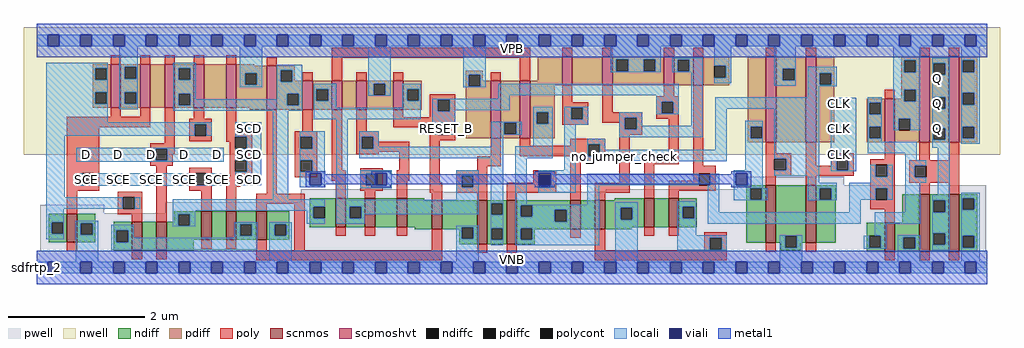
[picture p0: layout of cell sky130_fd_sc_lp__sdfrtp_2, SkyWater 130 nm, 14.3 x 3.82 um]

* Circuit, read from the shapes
.subckt sky130_fd_sc_lp__sdfrtp_2 CLK D RESET_B SCD SCE VGND VNB VPB VPWR Q
XM1 VGND SCE n1 VNB sky130_fd_pr__nfet_01v8 w=0.42 l=0.15
XM2 n2 n1 n3 VNB sky130_fd_pr__nfet_01v8 w=0.42 l=0.15
XM3 n4 D n2 VNB sky130_fd_pr__nfet_01v8 w=0.42 l=0.15
XM4 n5 SCE n4 VNB sky130_fd_pr__nfet_01v8 w=0.42 l=0.15
XM5 n3 SCD n5 VNB sky130_fd_pr__nfet_01v8 w=0.42 l=0.15
XM6 VGND RESET_B n3 VNB sky130_fd_pr__nfet_01v8 w=0.42 l=0.15
XM7 n6 n7 n4 VNB sky130_fd_pr__nfet_01v8 w=0.42 l=0.15
XM8 n8 n9 n6 VNB sky130_fd_pr__nfet_01v8 w=0.42 l=0.15
XM9 n10 n11 n8 VNB sky130_fd_pr__nfet_01v8 w=0.42 l=0.15
XM10 VGND RESET_B n10 VNB sky130_fd_pr__nfet_01v8 w=0.42 l=0.15
XM11 n11 n6 VGND VNB sky130_fd_pr__nfet_01v8 w=0.64 l=0.15
XM12 n12 n9 n11 VNB sky130_fd_pr__nfet_01v8 w=0.64 l=0.15
XM13 n13 n7 n12 VNB sky130_fd_pr__nfet_01v8 w=0.42 l=0.15
XM14 VGND n14 n13 VNB sky130_fd_pr__nfet_01v8 w=0.42 l=0.15
XM15 n15 RESET_B VGND VNB sky130_fd_pr__nfet_01v8 w=0.42 l=0.15
XM16 n14 n12 n15 VNB sky130_fd_pr__nfet_01v8 w=0.42 l=0.15
XM17 VGND n7 n9 VNB sky130_fd_pr__nfet_01v8 w=0.84 l=0.15
XM18 n7 CLK VGND VNB sky130_fd_pr__nfet_01v8 w=0.84 l=0.15
XM19 VGND n12 n16 VNB sky130_fd_pr__nfet_01v8 w=0.42 l=0.15
XM20 Q n16 VGND VNB sky130_fd_pr__nfet_01v8 w=0.84 l=0.15 m=2
XM21 VPWR SCE n1 VPB sky130_fd_pr__pfet_01v8_hvt w=0.64 l=0.15
XM22 n17 SCE VPWR VPB sky130_fd_pr__pfet_01v8_hvt w=0.64 l=0.15
XM23 n4 D n17 VPB sky130_fd_pr__pfet_01v8_hvt w=0.64 l=0.15
XM24 n18 n1 n4 VPB sky130_fd_pr__pfet_01v8_hvt w=0.64 l=0.15
XM25 VPWR SCD n18 VPB sky130_fd_pr__pfet_01v8_hvt w=0.64 l=0.15
XM26 n4 RESET_B VPWR VPB sky130_fd_pr__pfet_01v8_hvt w=0.64 l=0.15
XM27 n6 n9 n4 VPB sky130_fd_pr__pfet_01v8_hvt w=0.42 l=0.15
XM28 n19 n7 n6 VPB sky130_fd_pr__pfet_01v8_hvt w=0.42 l=0.15
XM29 VPWR n11 n19 VPB sky130_fd_pr__pfet_01v8_hvt w=0.42 l=0.15
XM30 n6 RESET_B VPWR VPB sky130_fd_pr__pfet_01v8_hvt w=0.42 l=0.15
XM31 n11 n6 VPWR VPB sky130_fd_pr__pfet_01v8_hvt w=0.84 l=0.15
XM32 n12 n7 n11 VPB sky130_fd_pr__pfet_01v8_hvt w=0.84 l=0.15
XM33 n20 n9 n12 VPB sky130_fd_pr__pfet_01v8_hvt w=0.42 l=0.15
XM34 VPWR n14 n20 VPB sky130_fd_pr__pfet_01v8_hvt w=0.42 l=0.15
XM35 n14 RESET_B VPWR VPB sky130_fd_pr__pfet_01v8_hvt w=0.42 l=0.15
XM36 VPWR n12 n14 VPB sky130_fd_pr__pfet_01v8_hvt w=0.42 l=0.15
XM37 VPWR n7 n9 VPB sky130_fd_pr__pfet_01v8_hvt w=1.26 l=0.15
XM38 n7 CLK VPWR VPB sky130_fd_pr__pfet_01v8_hvt w=1.26 l=0.15
XM39 VPWR n12 n16 VPB sky130_fd_pr__pfet_01v8_hvt w=0.64 l=0.15
XM40 Q n16 VPWR VPB sky130_fd_pr__pfet_01v8_hvt w=1.26 l=0.15 m=2
.ends

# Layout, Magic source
magic
tech sky130A
magscale 1 2
<< nwell >>
rect -38 331 2822 704
<< pwell >>
rect 2052 241 2366 267
rect 2052 229 2781 241
rect 773 223 1161 229
rect 1667 223 2781 229
rect 773 191 2781 223
rect 9 160 197 184
rect 376 160 2781 191
rect 9 49 2781 160
rect 0 0 2784 49
<< scnmos >>
rect 88 74 118 158
rect 278 50 308 134
rect 350 50 380 134
rect 482 81 512 165
rect 554 81 584 165
rect 643 81 673 165
rect 875 119 905 203
rect 961 119 991 203
rect 1055 119 1085 203
rect 1157 113 1187 197
rect 1290 69 1320 197
rect 1376 69 1406 197
rect 1563 113 1593 197
rect 1635 113 1665 197
rect 1779 119 1809 203
rect 1851 119 1881 203
rect 2135 73 2165 241
rect 2253 73 2283 241
rect 2484 47 2514 131
rect 2586 47 2616 215
rect 2672 47 2702 215
<< scpmoshvt >>
rect 216 468 246 596
rect 302 468 332 596
rect 374 468 404 596
rect 460 468 490 596
rect 554 468 584 596
rect 673 463 703 591
rect 778 463 808 547
rect 864 463 894 547
rect 936 463 966 547
rect 1044 463 1074 547
rect 1329 379 1359 547
rect 1415 379 1445 547
rect 1539 534 1569 618
rect 1657 534 1687 618
rect 1837 534 1867 618
rect 1923 534 1953 618
rect 2136 367 2166 619
rect 2253 367 2283 619
rect 2484 367 2514 495
rect 2586 367 2616 619
rect 2672 367 2702 619
<< ndiff >>
rect 35 133 88 158
rect 35 99 43 133
rect 77 99 88 133
rect 35 74 88 99
rect 118 130 171 158
rect 402 157 482 165
rect 402 134 414 157
rect 118 96 129 130
rect 163 96 171 130
rect 118 74 171 96
rect 225 109 278 134
rect 225 75 233 109
rect 267 75 278 109
rect 225 50 278 75
rect 308 50 350 134
rect 380 123 414 134
rect 448 123 482 157
rect 380 81 482 123
rect 512 81 554 165
rect 584 127 643 165
rect 584 93 595 127
rect 629 93 643 127
rect 584 81 643 93
rect 673 127 739 165
rect 673 93 697 127
rect 731 93 739 127
rect 673 81 739 93
rect 380 50 460 81
rect 799 178 875 203
rect 799 144 809 178
rect 843 144 875 178
rect 799 119 875 144
rect 905 178 961 203
rect 905 144 916 178
rect 950 144 961 178
rect 905 119 961 144
rect 991 119 1055 203
rect 1085 197 1135 203
rect 2078 233 2135 241
rect 1693 197 1779 203
rect 1085 119 1157 197
rect 1107 113 1157 119
rect 1187 119 1290 197
rect 1187 113 1245 119
rect 1237 85 1245 113
rect 1279 85 1290 119
rect 1237 69 1290 85
rect 1320 189 1376 197
rect 1320 155 1331 189
rect 1365 155 1376 189
rect 1320 115 1376 155
rect 1320 81 1331 115
rect 1365 81 1376 115
rect 1320 69 1376 81
rect 1406 183 1563 197
rect 1406 149 1417 183
rect 1451 169 1563 183
rect 1451 149 1518 169
rect 1406 135 1518 149
rect 1552 135 1563 169
rect 1406 115 1563 135
rect 1406 81 1417 115
rect 1451 113 1563 115
rect 1593 113 1635 197
rect 1665 175 1779 197
rect 1665 141 1710 175
rect 1744 141 1779 175
rect 1665 119 1779 141
rect 1809 119 1851 203
rect 1881 178 1934 203
rect 1881 144 1892 178
rect 1926 144 1934 178
rect 1881 119 1934 144
rect 2078 199 2090 233
rect 2124 199 2135 233
rect 1665 113 1743 119
rect 1451 81 1459 113
rect 1406 69 1459 81
rect 2078 73 2135 199
rect 2165 93 2253 241
rect 2165 73 2192 93
rect 2180 59 2192 73
rect 2226 73 2253 93
rect 2283 233 2340 241
rect 2283 199 2294 233
rect 2328 199 2340 233
rect 2283 73 2340 199
rect 2536 131 2586 215
rect 2431 93 2484 131
rect 2226 59 2238 73
rect 2180 51 2238 59
rect 2431 59 2439 93
rect 2473 59 2484 93
rect 2431 47 2484 59
rect 2514 89 2586 131
rect 2514 55 2539 89
rect 2573 55 2586 89
rect 2514 47 2586 55
rect 2616 197 2672 215
rect 2616 163 2627 197
rect 2661 163 2672 197
rect 2616 101 2672 163
rect 2616 67 2627 101
rect 2661 67 2672 101
rect 2616 47 2672 67
rect 2702 203 2755 215
rect 2702 169 2713 203
rect 2747 169 2755 203
rect 2702 93 2755 169
rect 2702 59 2713 93
rect 2747 59 2755 93
rect 2702 47 2755 59
<< pdiff >>
rect 163 584 216 596
rect 163 550 171 584
rect 205 550 216 584
rect 163 514 216 550
rect 163 480 171 514
rect 205 480 216 514
rect 163 468 216 480
rect 246 588 302 596
rect 246 554 257 588
rect 291 554 302 588
rect 246 514 302 554
rect 246 480 257 514
rect 291 480 302 514
rect 246 468 302 480
rect 332 468 374 596
rect 404 584 460 596
rect 404 550 415 584
rect 449 550 460 584
rect 404 510 460 550
rect 404 476 415 510
rect 449 476 460 510
rect 404 468 460 476
rect 490 468 554 596
rect 584 591 637 596
rect 584 570 673 591
rect 584 536 610 570
rect 644 536 673 570
rect 584 468 673 536
rect 623 463 673 468
rect 703 578 756 591
rect 703 544 714 578
rect 748 547 756 578
rect 1257 565 1307 577
rect 748 544 778 547
rect 703 510 778 544
rect 703 476 733 510
rect 767 476 778 510
rect 703 463 778 476
rect 808 523 864 547
rect 808 489 819 523
rect 853 489 864 523
rect 808 463 864 489
rect 894 463 936 547
rect 966 539 1044 547
rect 966 505 987 539
rect 1021 505 1044 539
rect 966 463 1044 505
rect 1074 523 1127 547
rect 1074 489 1085 523
rect 1119 489 1127 523
rect 1257 531 1265 565
rect 1299 547 1307 565
rect 1467 547 1539 618
rect 1299 531 1329 547
rect 1074 463 1127 489
rect 1257 379 1329 531
rect 1359 425 1415 547
rect 1359 391 1370 425
rect 1404 391 1415 425
rect 1359 379 1415 391
rect 1445 534 1539 547
rect 1569 534 1657 618
rect 1687 610 1837 618
rect 1687 576 1698 610
rect 1732 576 1778 610
rect 1812 576 1837 610
rect 1687 534 1837 576
rect 1867 609 1923 618
rect 1867 575 1878 609
rect 1912 575 1923 609
rect 1867 534 1923 575
rect 1953 591 2029 618
rect 1953 557 1985 591
rect 2019 557 2029 591
rect 1953 534 2029 557
rect 1445 455 1517 534
rect 1445 421 1464 455
rect 1498 421 1517 455
rect 1445 379 1517 421
rect 2083 413 2136 619
rect 2083 379 2091 413
rect 2125 379 2136 413
rect 2083 367 2136 379
rect 2166 583 2253 619
rect 2166 549 2186 583
rect 2220 549 2253 583
rect 2166 367 2253 549
rect 2283 570 2336 619
rect 2283 536 2294 570
rect 2328 536 2336 570
rect 2283 367 2336 536
rect 2533 607 2586 619
rect 2533 573 2541 607
rect 2575 573 2586 607
rect 2533 522 2586 573
rect 2533 495 2541 522
rect 2431 483 2484 495
rect 2431 449 2439 483
rect 2473 449 2484 483
rect 2431 413 2484 449
rect 2431 379 2439 413
rect 2473 379 2484 413
rect 2431 367 2484 379
rect 2514 488 2541 495
rect 2575 488 2586 522
rect 2514 437 2586 488
rect 2514 403 2525 437
rect 2559 403 2586 437
rect 2514 367 2586 403
rect 2616 599 2672 619
rect 2616 565 2627 599
rect 2661 565 2672 599
rect 2616 500 2672 565
rect 2616 466 2627 500
rect 2661 466 2672 500
rect 2616 409 2672 466
rect 2616 375 2627 409
rect 2661 375 2672 409
rect 2616 367 2672 375
rect 2702 607 2755 619
rect 2702 573 2713 607
rect 2747 573 2755 607
rect 2702 512 2755 573
rect 2702 478 2713 512
rect 2747 478 2755 512
rect 2702 413 2755 478
rect 2702 379 2713 413
rect 2747 379 2755 413
rect 2702 367 2755 379
<< ndiffc >>
rect 43 99 77 133
rect 129 96 163 130
rect 233 75 267 109
rect 414 123 448 157
rect 595 93 629 127
rect 697 93 731 127
rect 809 144 843 178
rect 916 144 950 178
rect 1245 85 1279 119
rect 1331 155 1365 189
rect 1331 81 1365 115
rect 1417 149 1451 183
rect 1518 135 1552 169
rect 1417 81 1451 115
rect 1710 141 1744 175
rect 1892 144 1926 178
rect 2090 199 2124 233
rect 2192 59 2226 93
rect 2294 199 2328 233
rect 2439 59 2473 93
rect 2539 55 2573 89
rect 2627 163 2661 197
rect 2627 67 2661 101
rect 2713 169 2747 203
rect 2713 59 2747 93
<< pdiffc >>
rect 171 550 205 584
rect 171 480 205 514
rect 257 554 291 588
rect 257 480 291 514
rect 415 550 449 584
rect 415 476 449 510
rect 610 536 644 570
rect 714 544 748 578
rect 733 476 767 510
rect 819 489 853 523
rect 987 505 1021 539
rect 1085 489 1119 523
rect 1265 531 1299 565
rect 1370 391 1404 425
rect 1698 576 1732 610
rect 1778 576 1812 610
rect 1878 575 1912 609
rect 1985 557 2019 591
rect 1464 421 1498 455
rect 2091 379 2125 413
rect 2186 549 2220 583
rect 2294 536 2328 570
rect 2541 573 2575 607
rect 2439 449 2473 483
rect 2439 379 2473 413
rect 2541 488 2575 522
rect 2525 403 2559 437
rect 2627 565 2661 599
rect 2627 466 2661 500
rect 2627 375 2661 409
rect 2713 573 2747 607
rect 2713 478 2747 512
rect 2713 379 2747 413
<< poly >>
rect 216 596 246 622
rect 302 596 332 622
rect 374 596 404 622
rect 460 596 490 622
rect 554 596 584 622
rect 673 591 703 617
rect 864 615 1445 645
rect 1539 618 1569 644
rect 1657 618 1687 644
rect 1837 618 1867 644
rect 1923 618 1953 644
rect 2136 619 2166 645
rect 2253 619 2283 645
rect 2586 619 2616 645
rect 2672 619 2702 645
rect 216 442 246 468
rect 302 442 332 468
rect 88 412 332 442
rect 88 276 183 412
rect 374 364 404 468
rect 460 436 490 468
rect 446 420 512 436
rect 446 386 462 420
rect 496 386 512 420
rect 446 370 512 386
rect 554 399 584 468
rect 778 547 808 573
rect 864 547 894 615
rect 936 547 966 573
rect 1044 547 1074 573
rect 1329 547 1359 573
rect 1415 547 1445 615
rect 1151 492 1225 508
rect 554 383 631 399
rect 554 369 581 383
rect 332 348 404 364
rect 332 314 348 348
rect 382 334 404 348
rect 565 349 581 369
rect 615 349 631 383
rect 382 314 398 334
rect 332 298 398 314
rect 565 315 631 349
rect 88 242 133 276
rect 167 242 183 276
rect 88 226 183 242
rect 88 158 118 226
rect 236 206 308 222
rect 236 172 252 206
rect 286 172 308 206
rect 236 156 308 172
rect 278 134 308 156
rect 350 134 380 298
rect 446 276 512 292
rect 446 242 462 276
rect 496 242 512 276
rect 565 281 581 315
rect 615 281 631 315
rect 565 267 631 281
rect 446 226 512 242
rect 482 165 512 226
rect 554 265 631 267
rect 554 237 595 265
rect 554 165 584 237
rect 673 217 703 463
rect 778 399 808 463
rect 756 383 822 399
rect 756 349 772 383
rect 806 349 822 383
rect 756 315 822 349
rect 756 281 772 315
rect 806 281 822 315
rect 756 265 822 281
rect 864 285 894 463
rect 936 399 966 463
rect 1044 441 1074 463
rect 1151 458 1175 492
rect 1209 458 1225 492
rect 1151 441 1225 458
rect 1044 424 1225 441
rect 1044 411 1175 424
rect 936 383 1002 399
rect 936 349 952 383
rect 986 369 1002 383
rect 1151 390 1175 411
rect 1209 390 1225 424
rect 1151 374 1225 390
rect 1539 485 1569 534
rect 1539 469 1615 485
rect 1539 435 1565 469
rect 1599 435 1615 469
rect 1539 419 1615 435
rect 1657 455 1687 534
rect 1837 502 1867 534
rect 1815 486 1881 502
rect 1657 439 1773 455
rect 1657 425 1723 439
rect 1707 405 1723 425
rect 1757 405 1773 439
rect 1815 452 1831 486
rect 1865 452 1881 486
rect 1815 436 1881 452
rect 1707 389 1773 405
rect 986 349 1091 369
rect 936 339 1091 349
rect 936 333 1002 339
rect 864 255 905 285
rect 643 187 784 217
rect 875 203 905 255
rect 947 275 1013 291
rect 1061 285 1091 339
rect 947 241 963 275
rect 997 241 1013 275
rect 947 225 1013 241
rect 1055 255 1091 285
rect 961 203 991 225
rect 1055 203 1085 255
rect 1151 249 1181 374
rect 1329 327 1359 379
rect 1415 357 1445 379
rect 1563 361 1665 377
rect 1563 357 1615 361
rect 1415 327 1615 357
rect 1649 327 1665 361
rect 1290 297 1359 327
rect 1563 311 1665 327
rect 1290 285 1320 297
rect 1229 269 1320 285
rect 1151 219 1187 249
rect 1229 235 1245 269
rect 1279 235 1320 269
rect 1455 269 1521 285
rect 1455 249 1471 269
rect 1229 219 1320 235
rect 643 165 673 187
rect 88 48 118 74
rect 482 55 512 81
rect 554 55 584 81
rect 643 51 673 81
rect 754 51 784 187
rect 1157 197 1187 219
rect 1290 197 1320 219
rect 1376 235 1471 249
rect 1505 235 1521 269
rect 1376 219 1521 235
rect 1376 197 1406 219
rect 1563 197 1593 311
rect 1707 249 1737 389
rect 1851 333 1881 436
rect 1635 219 1737 249
rect 1779 303 1881 333
rect 1635 197 1665 219
rect 1779 203 1809 303
rect 1923 299 1953 534
rect 2484 495 2514 521
rect 2136 335 2166 367
rect 2135 319 2211 335
rect 1923 275 1989 299
rect 1923 255 1939 275
rect 1851 241 1939 255
rect 1973 241 1989 275
rect 2135 285 2161 319
rect 2195 285 2211 319
rect 2135 269 2211 285
rect 2253 299 2283 367
rect 2328 319 2394 335
rect 2328 299 2344 319
rect 2253 285 2344 299
rect 2378 285 2394 319
rect 2484 317 2514 367
rect 2253 269 2394 285
rect 2442 301 2514 317
rect 2586 315 2616 367
rect 2672 315 2702 367
rect 2135 241 2165 269
rect 2253 241 2283 269
rect 2442 267 2458 301
rect 2492 267 2514 301
rect 1851 225 1989 241
rect 1851 203 1881 225
rect 875 93 905 119
rect 961 93 991 119
rect 1055 93 1085 119
rect 1157 51 1187 113
rect 1563 87 1593 113
rect 278 24 308 50
rect 350 24 380 50
rect 643 21 1187 51
rect 1290 43 1320 69
rect 1376 43 1406 69
rect 1635 51 1665 113
rect 1779 93 1809 119
rect 1851 93 1881 119
rect 1956 87 2022 103
rect 1956 53 1972 87
rect 2006 53 2022 87
rect 1956 51 2022 53
rect 1635 21 2022 51
rect 2135 47 2165 73
rect 2442 233 2514 267
rect 2556 299 2702 315
rect 2556 265 2572 299
rect 2606 265 2702 299
rect 2556 249 2702 265
rect 2442 199 2458 233
rect 2492 199 2514 233
rect 2586 215 2616 249
rect 2672 215 2702 249
rect 2442 171 2514 199
rect 2484 131 2514 171
rect 2253 47 2283 73
rect 2484 21 2514 47
rect 2586 21 2616 47
rect 2672 21 2702 47
<< polycont >>
rect 462 386 496 420
rect 348 314 382 348
rect 581 349 615 383
rect 133 242 167 276
rect 252 172 286 206
rect 462 242 496 276
rect 581 281 615 315
rect 772 349 806 383
rect 772 281 806 315
rect 1175 458 1209 492
rect 952 349 986 383
rect 1175 390 1209 424
rect 1565 435 1599 469
rect 1723 405 1757 439
rect 1831 452 1865 486
rect 963 241 997 275
rect 1615 327 1649 361
rect 1245 235 1279 269
rect 1471 235 1505 269
rect 1939 241 1973 275
rect 2161 285 2195 319
rect 2344 285 2378 319
rect 2458 267 2492 301
rect 1972 53 2006 87
rect 2572 265 2606 299
rect 2458 199 2492 233
<< locali >>
rect 0 649 31 683
rect 65 649 127 683
rect 161 649 223 683
rect 257 649 319 683
rect 353 649 415 683
rect 449 649 511 683
rect 545 649 607 683
rect 641 649 703 683
rect 737 649 799 683
rect 833 649 895 683
rect 929 649 991 683
rect 1025 649 1087 683
rect 1121 649 1183 683
rect 1217 649 1279 683
rect 1313 649 1375 683
rect 1409 649 1471 683
rect 1505 649 1567 683
rect 1601 649 1663 683
rect 1697 649 1759 683
rect 1793 649 1855 683
rect 1889 649 1951 683
rect 1985 649 2047 683
rect 2081 649 2143 683
rect 2177 649 2239 683
rect 2273 649 2335 683
rect 2369 649 2431 683
rect 2465 649 2527 683
rect 2561 649 2623 683
rect 2657 649 2719 683
rect 2753 649 2784 683
rect 27 584 207 600
rect 27 550 171 584
rect 205 550 207 584
rect 27 514 207 550
rect 27 480 171 514
rect 205 480 207 514
rect 27 426 207 480
rect 241 588 295 649
rect 241 554 257 588
rect 291 554 295 588
rect 241 514 295 554
rect 241 480 257 514
rect 291 480 295 514
rect 241 464 295 480
rect 399 584 465 600
rect 399 550 415 584
rect 449 550 465 584
rect 399 510 465 550
rect 594 570 660 649
rect 594 536 610 570
rect 644 536 660 570
rect 594 528 660 536
rect 702 578 777 594
rect 702 544 714 578
rect 748 544 777 578
rect 399 476 415 510
rect 449 494 465 510
rect 702 510 777 544
rect 971 539 1037 649
rect 1249 565 1315 649
rect 1682 610 1828 649
rect 1682 576 1698 610
rect 1732 576 1778 610
rect 1812 576 1828 610
rect 1682 573 1828 576
rect 1862 609 1951 615
rect 1862 575 1878 609
rect 1912 575 1951 609
rect 1862 573 1951 575
rect 702 494 733 510
rect 449 476 733 494
rect 767 476 777 510
rect 399 460 777 476
rect 811 523 877 539
rect 811 489 819 523
rect 853 489 877 523
rect 971 505 987 539
rect 1021 505 1037 539
rect 971 503 1037 505
rect 1071 523 1125 539
rect 1249 531 1265 565
rect 1299 531 1315 565
rect 1249 529 1315 531
rect 811 469 877 489
rect 1071 489 1085 523
rect 1119 489 1125 523
rect 1351 505 1881 539
rect 1351 495 1385 505
rect 1071 469 1125 489
rect 27 420 512 426
rect 27 386 462 420
rect 496 386 512 420
rect 27 206 81 386
rect 581 383 657 426
rect 115 348 547 352
rect 115 314 348 348
rect 382 314 547 348
rect 115 310 547 314
rect 615 349 657 383
rect 581 315 657 349
rect 615 281 657 315
rect 115 242 133 276
rect 167 242 462 276
rect 496 242 547 276
rect 581 242 657 281
rect 115 240 547 242
rect 27 172 252 206
rect 286 172 302 206
rect 691 201 736 460
rect 811 435 1125 469
rect 1159 492 1385 495
rect 1159 458 1175 492
rect 1209 461 1385 492
rect 1815 486 1881 505
rect 1209 458 1225 461
rect 770 383 843 399
rect 770 349 772 383
rect 806 349 843 383
rect 770 315 843 349
rect 770 281 772 315
rect 806 281 843 315
rect 770 276 843 281
rect 770 242 799 276
rect 833 242 843 276
rect 770 235 843 242
rect 398 178 843 201
rect 27 133 79 172
rect 398 167 809 178
rect 398 157 464 167
rect 27 99 43 133
rect 77 99 79 133
rect 27 83 79 99
rect 113 130 179 138
rect 113 96 129 130
rect 163 96 179 130
rect 113 17 179 96
rect 217 109 283 125
rect 398 123 414 157
rect 448 123 464 157
rect 791 144 809 167
rect 398 121 464 123
rect 579 127 645 133
rect 217 75 233 109
rect 267 87 283 109
rect 579 93 595 127
rect 629 93 645 127
rect 579 87 645 93
rect 267 75 645 87
rect 217 53 645 75
rect 681 127 747 133
rect 791 128 843 144
rect 877 199 911 435
rect 1159 424 1225 458
rect 1454 455 1511 471
rect 945 383 1002 399
rect 1159 390 1175 424
rect 1209 390 1225 424
rect 1331 425 1420 427
rect 1331 391 1370 425
rect 1404 391 1420 425
rect 945 349 952 383
rect 986 354 1002 383
rect 1331 389 1420 391
rect 1454 421 1464 455
rect 1498 421 1511 455
rect 1331 354 1367 389
rect 1454 355 1511 421
rect 986 349 1367 354
rect 945 320 1367 349
rect 947 276 1040 286
rect 947 275 991 276
rect 947 241 963 275
rect 1025 242 1040 276
rect 997 241 1040 242
rect 947 233 1040 241
rect 1229 269 1295 286
rect 1229 235 1245 269
rect 1279 235 1295 269
rect 1229 199 1295 235
rect 877 178 1295 199
rect 877 144 916 178
rect 950 157 1295 178
rect 1329 189 1367 320
rect 950 144 960 157
rect 877 128 960 144
rect 1329 155 1331 189
rect 1365 155 1367 189
rect 681 93 697 127
rect 731 93 747 127
rect 681 17 747 93
rect 1229 119 1295 123
rect 1229 85 1245 119
rect 1279 85 1295 119
rect 1229 17 1295 85
rect 1329 115 1367 155
rect 1329 81 1331 115
rect 1365 81 1367 115
rect 1329 65 1367 81
rect 1401 321 1511 355
rect 1545 469 1615 471
rect 1545 435 1565 469
rect 1599 435 1615 469
rect 1545 419 1615 435
rect 1707 439 1773 455
rect 1815 452 1831 486
rect 1865 452 1881 486
rect 1815 450 1881 452
rect 1401 185 1435 321
rect 1545 285 1579 419
rect 1707 405 1723 439
rect 1757 416 1773 439
rect 1917 416 1951 573
rect 1985 591 2035 649
rect 2019 557 2035 591
rect 1985 541 2035 557
rect 2161 583 2224 649
rect 2509 607 2589 649
rect 2161 549 2186 583
rect 2220 549 2224 583
rect 2161 533 2224 549
rect 2258 570 2344 588
rect 2258 536 2294 570
rect 2328 536 2344 570
rect 2258 532 2344 536
rect 2509 573 2541 607
rect 2575 573 2589 607
rect 2258 499 2292 532
rect 2509 522 2589 573
rect 1757 405 1951 416
rect 1707 382 1951 405
rect 1987 465 2292 499
rect 1613 361 1665 377
rect 1613 327 1615 361
rect 1649 346 1665 361
rect 1987 346 2021 465
rect 1649 327 2021 346
rect 1613 312 2021 327
rect 2075 413 2127 431
rect 2075 379 2091 413
rect 2125 379 2127 413
rect 1613 311 1649 312
rect 2075 285 2127 379
rect 1469 276 1579 285
rect 1469 235 1471 276
rect 1505 235 1579 276
rect 2042 276 2127 285
rect 1469 219 1579 235
rect 1613 241 1939 275
rect 1973 241 2000 275
rect 1613 185 1647 241
rect 1401 183 1647 185
rect 1401 149 1417 183
rect 1451 169 1647 183
rect 1451 149 1518 169
rect 1401 135 1518 149
rect 1552 135 1647 169
rect 1401 115 1647 135
rect 1401 81 1417 115
rect 1451 81 1647 115
rect 1401 65 1647 81
rect 1694 175 1760 191
rect 1694 141 1710 175
rect 1744 141 1760 175
rect 1694 17 1760 141
rect 1876 178 1932 194
rect 1876 144 1892 178
rect 1926 144 1932 178
rect 1876 95 1932 144
rect 1966 163 2000 241
rect 2042 242 2047 276
rect 2081 242 2127 276
rect 2161 319 2292 465
rect 2195 285 2292 319
rect 2161 269 2292 285
rect 2326 319 2401 498
rect 2435 483 2475 499
rect 2435 449 2439 483
rect 2473 449 2475 483
rect 2435 413 2475 449
rect 2435 379 2439 413
rect 2473 379 2475 413
rect 2509 488 2541 522
rect 2575 488 2589 522
rect 2509 437 2589 488
rect 2509 403 2525 437
rect 2559 403 2589 437
rect 2623 599 2675 615
rect 2623 565 2627 599
rect 2661 565 2675 599
rect 2623 500 2675 565
rect 2623 466 2627 500
rect 2661 466 2675 500
rect 2623 409 2675 466
rect 2435 369 2475 379
rect 2623 375 2627 409
rect 2661 375 2675 409
rect 2435 335 2578 369
rect 2623 351 2675 375
rect 2709 607 2763 649
rect 2709 573 2713 607
rect 2747 573 2763 607
rect 2709 512 2763 573
rect 2709 478 2713 512
rect 2747 478 2763 512
rect 2709 413 2763 478
rect 2709 379 2713 413
rect 2747 379 2763 413
rect 2709 363 2763 379
rect 2326 285 2344 319
rect 2378 285 2401 319
rect 2544 315 2578 335
rect 2326 283 2401 285
rect 2042 233 2127 242
rect 2258 249 2292 269
rect 2442 267 2458 301
rect 2492 267 2508 301
rect 2442 249 2508 267
rect 2258 233 2344 249
rect 2042 199 2090 233
rect 2124 199 2140 233
rect 2042 197 2140 199
rect 2258 199 2294 233
rect 2328 199 2344 233
rect 2258 197 2344 199
rect 2380 233 2508 249
rect 2380 199 2458 233
rect 2492 199 2508 233
rect 2544 299 2606 315
rect 2544 265 2572 299
rect 2544 249 2606 265
rect 2380 163 2414 199
rect 2544 163 2589 249
rect 2640 213 2675 351
rect 1966 129 2414 163
rect 2455 129 2589 163
rect 2623 197 2675 213
rect 2623 163 2627 197
rect 2661 163 2675 197
rect 1876 87 2022 95
rect 1876 53 1972 87
rect 2006 53 2022 87
rect 1876 51 2022 53
rect 2176 93 2242 95
rect 2455 93 2489 129
rect 2623 101 2675 163
rect 2176 59 2192 93
rect 2226 59 2242 93
rect 2176 17 2242 59
rect 2423 59 2439 93
rect 2473 59 2489 93
rect 2423 55 2489 59
rect 2523 89 2589 95
rect 2523 55 2539 89
rect 2573 55 2589 89
rect 2523 17 2589 55
rect 2623 67 2627 101
rect 2661 67 2675 101
rect 2623 51 2675 67
rect 2709 203 2763 219
rect 2709 169 2713 203
rect 2747 169 2763 203
rect 2709 93 2763 169
rect 2709 59 2713 93
rect 2747 59 2763 93
rect 2709 17 2763 59
rect 0 -17 31 17
rect 65 -17 127 17
rect 161 -17 223 17
rect 257 -17 319 17
rect 353 -17 415 17
rect 449 -17 511 17
rect 545 -17 607 17
rect 641 -17 703 17
rect 737 -17 799 17
rect 833 -17 895 17
rect 929 -17 991 17
rect 1025 -17 1087 17
rect 1121 -17 1183 17
rect 1217 -17 1279 17
rect 1313 -17 1375 17
rect 1409 -17 1471 17
rect 1505 -17 1567 17
rect 1601 -17 1663 17
rect 1697 -17 1759 17
rect 1793 -17 1855 17
rect 1889 -17 1951 17
rect 1985 -17 2047 17
rect 2081 -17 2143 17
rect 2177 -17 2239 17
rect 2273 -17 2335 17
rect 2369 -17 2431 17
rect 2465 -17 2527 17
rect 2561 -17 2623 17
rect 2657 -17 2719 17
rect 2753 -17 2784 17
<< viali >>
rect 31 649 65 683
rect 127 649 161 683
rect 223 649 257 683
rect 319 649 353 683
rect 415 649 449 683
rect 511 649 545 683
rect 607 649 641 683
rect 703 649 737 683
rect 799 649 833 683
rect 895 649 929 683
rect 991 649 1025 683
rect 1087 649 1121 683
rect 1183 649 1217 683
rect 1279 649 1313 683
rect 1375 649 1409 683
rect 1471 649 1505 683
rect 1567 649 1601 683
rect 1663 649 1697 683
rect 1759 649 1793 683
rect 1855 649 1889 683
rect 1951 649 1985 683
rect 2047 649 2081 683
rect 2143 649 2177 683
rect 2239 649 2273 683
rect 2335 649 2369 683
rect 2431 649 2465 683
rect 2527 649 2561 683
rect 2623 649 2657 683
rect 2719 649 2753 683
rect 799 242 833 276
rect 991 275 1025 276
rect 991 242 997 275
rect 997 242 1025 275
rect 1471 269 1505 276
rect 1471 242 1505 269
rect 2047 242 2081 276
rect 31 -17 65 17
rect 127 -17 161 17
rect 223 -17 257 17
rect 319 -17 353 17
rect 415 -17 449 17
rect 511 -17 545 17
rect 607 -17 641 17
rect 703 -17 737 17
rect 799 -17 833 17
rect 895 -17 929 17
rect 991 -17 1025 17
rect 1087 -17 1121 17
rect 1183 -17 1217 17
rect 1279 -17 1313 17
rect 1375 -17 1409 17
rect 1471 -17 1505 17
rect 1567 -17 1601 17
rect 1663 -17 1697 17
rect 1759 -17 1793 17
rect 1855 -17 1889 17
rect 1951 -17 1985 17
rect 2047 -17 2081 17
rect 2143 -17 2177 17
rect 2239 -17 2273 17
rect 2335 -17 2369 17
rect 2431 -17 2465 17
rect 2527 -17 2561 17
rect 2623 -17 2657 17
rect 2719 -17 2753 17
<< metal1 >>
rect 0 683 2784 715
rect 0 649 31 683
rect 65 649 127 683
rect 161 649 223 683
rect 257 649 319 683
rect 353 649 415 683
rect 449 649 511 683
rect 545 649 607 683
rect 641 649 703 683
rect 737 649 799 683
rect 833 649 895 683
rect 929 649 991 683
rect 1025 649 1087 683
rect 1121 649 1183 683
rect 1217 649 1279 683
rect 1313 649 1375 683
rect 1409 649 1471 683
rect 1505 649 1567 683
rect 1601 649 1663 683
rect 1697 649 1759 683
rect 1793 649 1855 683
rect 1889 649 1951 683
rect 1985 649 2047 683
rect 2081 649 2143 683
rect 2177 649 2239 683
rect 2273 649 2335 683
rect 2369 649 2431 683
rect 2465 649 2527 683
rect 2561 649 2623 683
rect 2657 649 2719 683
rect 2753 649 2784 683
rect 0 617 2784 649
rect 787 276 845 282
rect 787 242 799 276
rect 833 273 845 276
rect 979 276 1037 282
rect 979 273 991 276
rect 833 245 991 273
rect 833 242 845 245
rect 787 236 845 242
rect 979 242 991 245
rect 1025 273 1037 276
rect 1459 276 1517 282
rect 1459 273 1471 276
rect 1025 245 1471 273
rect 1025 242 1037 245
rect 979 236 1037 242
rect 1459 242 1471 245
rect 1505 273 1517 276
rect 2035 276 2093 282
rect 2035 273 2047 276
rect 1505 245 2047 273
rect 1505 242 1517 245
rect 1459 236 1517 242
rect 2035 242 2047 245
rect 2081 242 2093 276
rect 2035 236 2093 242
rect 0 17 2784 49
rect 0 -17 31 17
rect 65 -17 127 17
rect 161 -17 223 17
rect 257 -17 319 17
rect 353 -17 415 17
rect 449 -17 511 17
rect 545 -17 607 17
rect 641 -17 703 17
rect 737 -17 799 17
rect 833 -17 895 17
rect 929 -17 991 17
rect 1025 -17 1087 17
rect 1121 -17 1183 17
rect 1217 -17 1279 17
rect 1313 -17 1375 17
rect 1409 -17 1471 17
rect 1505 -17 1567 17
rect 1601 -17 1663 17
rect 1697 -17 1759 17
rect 1793 -17 1855 17
rect 1889 -17 1951 17
rect 1985 -17 2047 17
rect 2081 -17 2143 17
rect 2177 -17 2239 17
rect 2273 -17 2335 17
rect 2369 -17 2431 17
rect 2465 -17 2527 17
rect 2561 -17 2623 17
rect 2657 -17 2719 17
rect 2753 -17 2784 17
rect 0 -49 2784 -17
<< labels >>
flabel pwell s 0 0 2784 49 0 FreeSans 200 0 0 0 VNB
port 7 nsew ground bidirectional
flabel nwell s 0 617 2784 666 0 FreeSans 200 0 0 0 VPB
port 8 nsew power bidirectional
rlabel comment s 0 0 0 0 4 sdfrtp_2
flabel comment s 1722 326 1722 326 0 FreeSans 200 90 0 0 no_jumper_check
flabel metal1 s 0 0 2784 49 0 FreeSans 340 0 0 0 VGND
port 6 nsew ground bidirectional
flabel metal1 s 0 617 2784 666 0 FreeSans 340 0 0 0 VPWR
port 9 nsew power bidirectional
flabel locali s 127 242 161 276 0 FreeSans 340 0 0 0 SCE
port 5 nsew signal input
flabel locali s 223 242 257 276 0 FreeSans 340 0 0 0 SCE
port 5 nsew signal input
flabel locali s 319 242 353 276 0 FreeSans 340 0 0 0 SCE
port 5 nsew signal input
flabel locali s 415 242 449 276 0 FreeSans 340 0 0 0 SCE
port 5 nsew signal input
flabel locali s 511 242 545 276 0 FreeSans 340 0 0 0 SCE
port 5 nsew signal input
flabel locali s 1183 390 1217 424 0 FreeSans 340 0 0 0 RESET_B
port 3 nsew signal input
flabel locali s 2335 316 2369 350 0 FreeSans 340 0 0 0 CLK
port 1 nsew clock input
flabel locali s 2335 390 2369 424 0 FreeSans 340 0 0 0 CLK
port 1 nsew clock input
flabel locali s 2335 464 2369 498 0 FreeSans 340 0 0 0 CLK
port 1 nsew clock input
flabel locali s 607 242 641 276 0 FreeSans 340 0 0 0 SCD
port 4 nsew signal input
flabel locali s 607 316 641 350 0 FreeSans 340 0 0 0 SCD
port 4 nsew signal input
flabel locali s 607 390 641 424 0 FreeSans 340 0 0 0 SCD
port 4 nsew signal input
flabel locali s 127 316 161 350 0 FreeSans 340 0 0 0 D
port 2 nsew signal input
flabel locali s 223 316 257 350 0 FreeSans 340 0 0 0 D
port 2 nsew signal input
flabel locali s 319 316 353 350 0 FreeSans 340 0 0 0 D
port 2 nsew signal input
flabel locali s 415 316 449 350 0 FreeSans 340 0 0 0 D
port 2 nsew signal input
flabel locali s 511 316 545 350 0 FreeSans 340 0 0 0 D
port 2 nsew signal input
flabel locali s 2623 390 2657 424 0 FreeSans 340 0 0 0 Q
port 10 nsew signal output
flabel locali s 2623 464 2657 498 0 FreeSans 340 0 0 0 Q
port 10 nsew signal output
flabel locali s 2623 538 2657 572 0 FreeSans 340 0 0 0 Q
port 10 nsew signal output
<< properties >>
string LEFsite unit
string LEFclass CORE
string FIXED_BBOX 0 0 2784 666
string GDS_FILE $PDKPATH/libs.ref/sky130_fd_sc_lp/gds/sky130_fd_sc_lp.gds
string LEFsymmetry X Y R90
string GDS_END 3289420
string GDS_START 3268418
<< end >>
